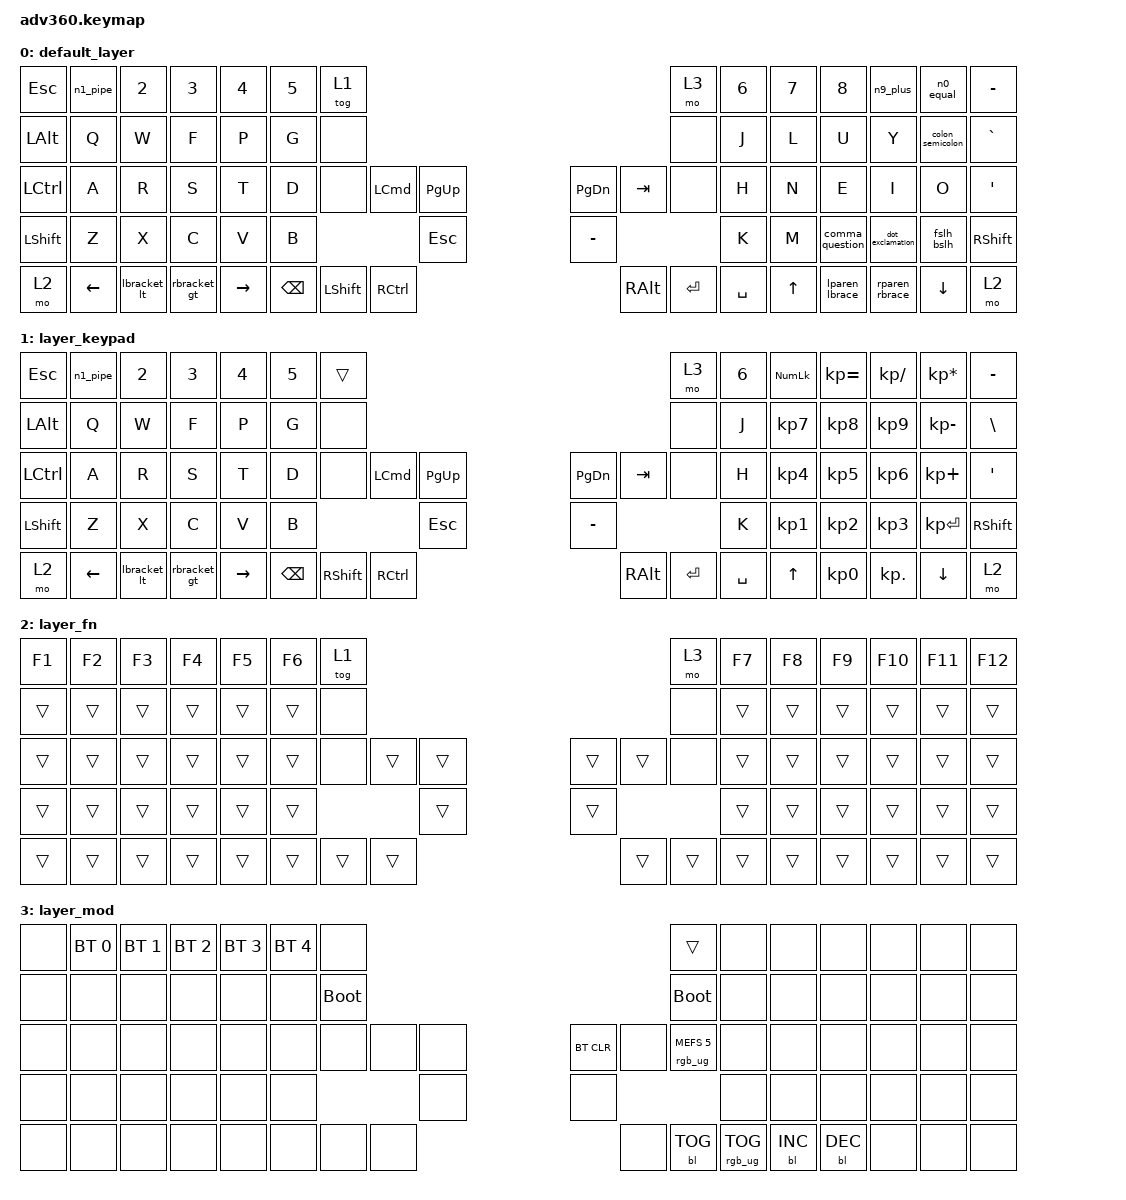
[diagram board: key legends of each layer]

/*
 * Copyright (c) 2020 The ZMK Contributors
 *
 * SPDX-License-Identifier: MIT
 */


/* THIS FILE WAS GENERATED!
 *
 * This file was generated automatically. You may or may not want to
 * edit it directly.
 */

#include <behaviors.dtsi>
#include <dt-bindings/zmk/keys.h>
#include <dt-bindings/zmk/bt.h>
#include <dt-bindings/zmk/rgb.h>
#include <dt-bindings/zmk/backlight.h>

/ {
  behaviors {
    #include "macros.dtsi"
    #include "version.dtsi"

    hm: homerow_mods {
        label = "HOMEROW_MODS";
        compatible = "zmk,behavior-hold-tap";
        #binding-cells = <2>;
        tapping-term-ms = <200>;
        quick_tap_ms = <175>;
        flavor = "tap-preferred";
        bindings = <&kp>, <&kp>;
    };
    n1_pipe: n1_pipe {
        label = "n1_pipe";
        compatible = "zmk,behavior-mod-morph";
        #binding-cells = <0>;
        bindings = <&kp N1>, <&kp PIPE>;
        mods = <(MOD_LSFT|MOD_RSFT)>;
    };
    n9_plus: n9_plus {
        label = "n9_plus";
        compatible = "zmk,behavior-mod-morph";
        #binding-cells = <0>;
        bindings = <&kp N9>, <&kp PLUS>;
        mods = <(MOD_LSFT|MOD_RSFT)>;
    };
    n0_equal: n0_equal {
        label = "n0_equal";
        compatible = "zmk,behavior-mod-morph";
        #binding-cells = <0>;
        bindings = <&kp N0>, <&kp EQUAL>;
        mods = <(MOD_LSFT|MOD_RSFT)>;
    };
    lparen_lbrace: lparen_lbrace {
        label = "left_paren_left_brace";
        compatible = "zmk,behavior-mod-morph";
        #binding-cells = <0>;
        bindings = <&kp LEFT_PARENTHESIS>, <&kp LEFT_BRACE>;
        mods = <(MOD_LSFT|MOD_RSFT)>;
    };
    rparen_rbrace: rparen_rbrace {
        label = "right_paren_right_brace";
        compatible = "zmk,behavior-mod-morph";
        #binding-cells = <0>;
        bindings = <&kp RIGHT_PARENTHESIS>, <&kp RIGHT_BRACE>;
        mods = <(MOD_LSFT|MOD_RSFT)>;
    };
    lbracket_lt: lbracket_lt {
        label = "left_bracket_less_than";
        compatible = "zmk,behavior-mod-morph";
        #binding-cells = <0>;
        bindings = <&kp LEFT_BRACKET>, <&kp LESS_THAN>;
        mods = <(MOD_LSFT|MOD_RSFT)>;
    };
    rbracket_gt: rbracket_gt {
        label = "right_bracket_greater_than";
        compatible = "zmk,behavior-mod-morph";
        #binding-cells = <0>;
        bindings = <&kp RIGHT_BRACKET>, <&kp GREATER_THAN>;
        mods = <(MOD_LSFT|MOD_RSFT)>;
    };
    colon_semicolon: colon_semicolon {
        label = "colon_semicolon";
        compatible = "zmk,behavior-mod-morph";
        #binding-cells = <0>;
        bindings = <&kp COLON>, <&kp SEMICOLON>;
        mods = <(MOD_LSFT|MOD_RSFT)>;
    };
    dot_exclamation: dot_exclamation {
        label = "dot_exclamation";
        compatible = "zmk,behavior-mod-morph";
        #binding-cells = <0>;
        bindings = <&kp DOT>, <&kp EXCLAMATION>;
        mods = <(MOD_LSFT|MOD_RSFT)>;
    };
    comma_question: comma_question {
        label = "comma_question";
        compatible = "zmk,behavior-mod-morph";
        #binding-cells = <0>;
        bindings = <&kp COMMA>, <&kp QUESTION>;
        mods = <(MOD_LSFT|MOD_RSFT)>;
    };
    fslh_bslh: fslh_bslh {
        label = "forwardslash_backslash";
        compatible = "zmk,behavior-mod-morph";
        #binding-cells = <0>;
        bindings = <&kp FSLH>, <&kp BSLH>;
        mods = <(MOD_LSFT|MOD_RSFT)>;
    };
  };

    keymap {
        compatible = "zmk,keymap";


        default_layer {
            bindings = <
   &kp ESC    &n1_pipe            &kp N2             &kp N3     &kp N4  &kp N5              &tog 1                                                                             &mo 3  &kp N6  &kp N7                &kp N8                 &n9_plus          &n0_equal  &kp MINUS
  &kp LALT     &kp Q             &kp W              &kp F      &kp P   &kp G               &none                                                                             &none   &kp J   &kp L                 &kp U                  &kp Y       &colon_semicolon  &kp GRAVE
 &kp LCTRL     &kp A             &kp R              &kp S      &kp T   &kp D               &none        &kp LCMD  &kp PAGE_UP                  &kp PAGE_DOWN    &kp TAB      &none   &kp H   &kp N                 &kp E                  &kp I           &kp O    &kp SQT
 &kp LSHFT     &kp Z             &kp X              &kp C      &kp V   &kp B                                       &kp ESCAPE                      &kp MINUS                         &kp K   &kp M             &comma_question                &dot_exclamation        &fslh_bslh  &kp RSHFT
     &mo 2  &kp LEFT  &lbracket_lt  &rbracket_gt  &kp RIGHT                    &kp BSPC  &kp LEFT_SHIFT    &kp RCTRL                       &kp RALT  &kp ENTER  &kp SPACE          &kp UP  &lparen_lbrace  &rparen_rbrace  &kp DOWN_ARROW      &mo 2
            >;
        };

        layer_keypad {
            bindings = <
   &kp ESC    &n1_pipe     &kp N2     &kp N3     &kp N4  &kp N5              &trans                                                                         &mo 3  &kp N6  &kp KP_NUM  &kp KP_EQUAL  &kp KP_DIVIDE  &kp KP_MULTIPLY  &kp MINUS
  &kp LALT     &kp Q      &kp W      &kp F      &kp P   &kp G               &none                                                                         &none   &kp J   &kp KP_N7     &kp KP_N8      &kp KP_N9     &kp KP_MINUS   &kp BSLH
 &kp LCTRL     &kp A      &kp R      &kp S      &kp T   &kp D               &none    &kp LCMD  &kp PAGE_UP                      &kp PG_DN    &kp TAB      &none   &kp H   &kp KP_N4     &kp KP_N5      &kp KP_N6      &kp KP_PLUS    &kp SQT
 &kp LSHFT     &kp Z      &kp X      &kp C      &kp V   &kp B                                      &kp ESC                  &kp MINUS                         &kp K   &kp KP_N1     &kp KP_N2      &kp KP_N3     &kp KP_ENTER  &kp RSHFT
     &mo 2  &kp LEFT  &lbracket_lt  &rbracket_gt  &kp RIGHT                    &kp BSPC  &kp RSHIFT    &kp RCTRL                       &kp RALT  &kp ENTER  &kp SPACE              &kp UP     &kp KP_N0     &kp KP_DOT         &kp DOWN      &mo 2
            >;
        };

        layer_fn {
            bindings = <
 &kp F1  &kp F2  &kp F3  &kp F4  &kp F5  &kp F6            &tog 1                                                   &mo 3  &kp F7  &kp F8  &kp F9  &kp F10  &kp F11  &kp F12
 &trans  &trans  &trans  &trans  &trans  &trans             &none                                                   &none  &trans  &trans  &trans   &trans   &trans   &trans
 &trans  &trans  &trans  &trans  &trans  &trans             &none  &trans  &trans                  &trans  &trans   &none  &trans  &trans  &trans   &trans   &trans   &trans
 &trans  &trans  &trans  &trans  &trans  &trans                            &trans                  &trans                  &trans  &trans  &trans   &trans   &trans   &trans
 &trans  &trans  &trans  &trans  &trans                    &trans  &trans  &trans                  &trans  &trans  &trans          &trans  &trans   &trans   &trans   &trans
            >;
        };

        layer_mod {
            bindings = <
  &none  &bt BT_SEL 0  &bt BT_SEL 1  &bt BT_SEL 2  &bt BT_SEL 3  &bt BT_SEL 4                  &none                                                                          &trans   &none       &none       &none   &none   &none   &none
  &none         &none         &none         &none         &none         &none            &bootloader                                                                     &bootloader   &none       &none       &none   &none   &none   &none
  &none         &none         &none         &none         &none         &none                  &none   &none   &none                  &bt BT_CLR       &none  &rgb_ug RGB_MEFS_CMD 5   &none       &none       &none   &none   &none   &none
  &none         &none         &none         &none         &none         &none                                  &none                       &none                                       &none       &none       &none   &none   &none   &none
  &none         &none         &none         &none         &none                                &none   &none   &none                       &none  &bl BL_TOG         &rgb_ug RGB_TOG          &bl BL_INC  &bl BL_DEC   &none   &none   &none
            >;
        };

    };
};
